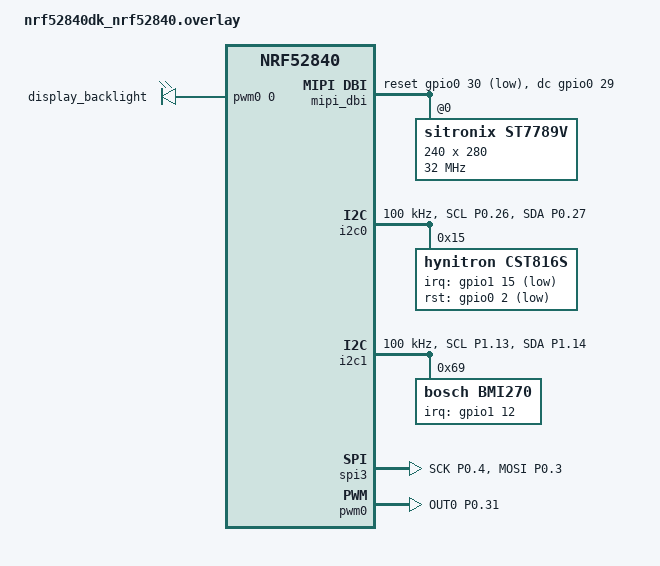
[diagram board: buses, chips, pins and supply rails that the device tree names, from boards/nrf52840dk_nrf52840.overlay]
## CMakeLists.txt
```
# SPDX-License-Identifier: Apache-2.0

cmake_minimum_required(VERSION 3.20.0)

find_package(Zephyr REQUIRED HINTS $ENV{ZEPHYR_BASE})
project(my_lvgl)


set(LVGL_DIR ${ZEPHYR_LVGL_MODULE_DIR})

target_sources(app PRIVATE src/main.c)

target_include_directories(app PRIVATE
    ${LVGL_DIR}/demos/
    ${LVGL_DIR}/examples/
)

target_sources_ifdef(CONFIG_LV_USE_DEMO_BENCHMARK app PRIVATE
    ${LVGL_DIR}/demos/benchmark/assets/img_benchmark_avatar.c
    ${LVGL_DIR}/demos/benchmark/assets/img_benchmark_lvgl_logo_argb.c
    ${LVGL_DIR}/demos/benchmark/assets/img_benchmark_lvgl_logo_rgb.c
    ${LVGL_DIR}/demos/benchmark/assets/lv_font_benchmark_montserrat_12_compr_az.c.c
    ${LVGL_DIR}/demos/benchmark/assets/lv_font_benchmark_montserrat_16_compr_az.c.c
    ${LVGL_DIR}/demos/benchmark/assets/lv_font_benchmark_montserrat_28_compr_az.c.c
    ${LVGL_DIR}/demos/benchmark/lv_demo_benchmark.c
)

target_sources_ifdef(CONFIG_LV_USE_DEMO_WIDGETS app PRIVATE
    ${LVGL_DIR}/demos/widgets/assets/img_clothes.c
    ${LVGL_DIR}/demos/widgets/assets/img_demo_widgets_avatar.c
    ${LVGL_DIR}/demos/widgets/assets/img_demo_widgets_needle.c
    ${LVGL_DIR}/demos/widgets/assets/img_lvgl_logo.c
    ${LVGL_DIR}/demos/widgets/lv_demo_widgets.c
)

target_sources_ifdef(CONFIG_LV_BUILD_EXAMPLES app PRIVATE
    ${LVGL_DIR}/examples/widgets/tileview/lv_example_tileview_1.c
    ${LVGL_DIR}/examples/widgets/arc/lv_example_arc_1.c
    ${LVGL_DIR}/examples/widgets/arc/lv_example_arc_2.c

)

# 先加入第三方 Bosch 库（提供实现与公共包含路径）
add_subdirectory(src/third_party/bosch_bmi270)

add_subdirectory(src/ui)
add_subdirectory(src/ble)
add_subdirectory(src/sensor)
add_subdirectory(src/app)


include_directories(src/)
```

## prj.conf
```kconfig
# =====================================================
# 目标：ST7789 + LVGL 显示，手机经 BLE/NUS 写入时间并显示
# 路线：Zephyr 显示子系统（推荐，不与 LVGL 内置驱动混用）
# =====================================================

# -------------------------
# 基础系统 / 内存 / 日志
# -------------------------


# 让内核能报出哪个线程、并更早发现栈问题
CONFIG_THREAD_NAME=y
CONFIG_THREAD_STACK_INFO=y
CONFIG_INIT_STACKS=y
CONFIG_STACK_SENTINEL=y
CONFIG_ASSERT=y
CONFIG_HW_STACK_PROTECTION=y      # 硬件栈保护（MPU）
CONFIG_THREAD_MONITOR=y          # 线程监控（可选）
# 系统工作队列（很多驱动会用到）
CONFIG_SYSTEM_WORKQUEUE_STACK_SIZE=2048

CONFIG_MAIN_STACK_SIZE=16384
CONFIG_HEAP_MEM_POOL_SIZE=16384

CONFIG_LOG=y
# 如需串口 Shell 调试再打开
# CONFIG_SHELL=y

# POSIX 时间：clock_settime()/clock_gettime()
CONFIG_POSIX_CLOCK=y
CONFIG_NEWLIB_LIBC=y

CONFIG_POSIX_API=y

# CST816S
CONFIG_INPUT_CST816S_INTERRUPT=y
# -------------------------
# 硬件驱动（按你的接法启用）
# -------------------------
CONFIG_GPIO=y
CONFIG_SPI=y                 # ST7789 常用 SPI
CONFIG_PWM=y                 # 若背光用 PWM；不用可注释
CONFIG_INPUT=y             # 有触摸/按键扫描再打开

# -------------------------
# 显示子系统 + LVGL（Zephyr 路径）
# -------------------------
CONFIG_DISPLAY=y
CONFIG_DISPLAY_LOG_LEVEL_ERR=y

CONFIG_LVGL=y
CONFIG_LV_USE_LOG=y
CONFIG_LV_COLOR_DEPTH_16=y
CONFIG_LV_COLOR_16_SWAP=y

# Zephyr↔LVGL 集成
CONFIG_LV_Z_MEM_POOL_SIZE=65536
CONFIG_LV_Z_POINTER_INPUT=y   # 若没有输入设备，可注释掉
CONFIG_LV_USE_PRIVATE_API=y
CONFIG_LV_Z_FLUSH_THREAD=y
# 字体（按需保留，过多会增体积）
CONFIG_LV_FONT_MONTSERRAT_14=y
CONFIG_LV_FONT_MONTSERRAT_18=y
# 开发期调试工具（量产建议关闭）
# CONFIG_LV_USE_SYSMON is not set
# CONFIG_LV_USE_PERF_MONITOR is not set

CONFIG_LV_Z_FLUSH_THREAD_STACK_SIZE=3072

CONFIG_SENSOR=y
#CONFIG_BMI270=y
# ST7789 驱动本体（部分版本会自动根据 DTS 打开，这里显式置 y 更稳）
CONFIG_ST7789V=y
# 若你的工程确实需要该宏（部分派生驱动才有），再保留：
CONFIG_ST7789V_RGB565=y

# -------------------------
# 蓝牙（NUS 对时）
# -------------------------
CONFIG_BT=y
CONFIG_BT_PERIPHERAL=y
CONFIG_BT_GATT_SERVICE_CHANGED=y

CONFIG_BT_ZEPHYR_NUS=y

# 安全与配对（建议开启；配合 SETTINGS 保存绑定）
CONFIG_BT_SMP=y
CONFIG_BT_SETTINGS=y
CONFIG_FLASH=y
CONFIG_FLASH_PAGE_LAYOUT=y
CONFIG_FLASH_MAP=y

# 设备名
CONFIG_BT_DEVICE_NAME="NUS-TimeSync"
# CONFIG_BT_DEVICE_APPEARANCE=0
# 可选链路优化（更长数据包/更高 PHY）
# CONFIG_BT_USER_PHY_UPDATE=y
# CONFIG_BT_USER_DATA_LEN_UPDATE=y

# -------------------------
# zbus（可选，用于 BLE 与 UI/时钟模块解耦）
# -------------------------
CONFIG_ZBUS=y
# 下面这些是调试/可观测性增强，会增体积，默认关闭
CONFIG_ZBUS_RUNTIME_OBSERVERS=y
CONFIG_ZBUS_CHANNEL_NAME=y
CONFIG_ZBUS_OBSERVER_NAME=y
CONFIG_ZBUS_CHANNELS_SYS_INIT_PRIORITY=1
```

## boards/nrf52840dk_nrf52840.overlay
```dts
#include <zephyr/dt-bindings/mipi_dbi/mipi_dbi.h>

/ {
    chosen {
        zephyr,display = &st7789v;
        zephyr,keyboard-scan = &cst816s;
    };
    lvgl_pointer_input: lvgl_pointer {
        compatible = "zephyr,lvgl-pointer-input";
        input = <&cst816s>;
    };
    aliases {
        input = &cst816s;
        backlight = &backlight_pwm;   /* 让代码用 DT_ALIAS(bl) 找到背光 */
    };

    pwmleds {
        compatible = "pwm-leds";
        backlight_pwm: backlight {
            /* 例：pwm0 通道 0，周期 100k ns=10kHz，正逻辑 */
            pwms = <&pwm0 0 100000 PWM_POLARITY_NORMAL>;
            label = "display_backlight";
        };
    };

    mipi_dbi {
        compatible = "zephyr,mipi-dbi-spi";
        dc-gpios = <&gpio0 29 GPIO_ACTIVE_HIGH>;   /* D/CX */
        reset-gpios = <&gpio0 30 GPIO_ACTIVE_LOW>; /* RSTX */
        spi-dev = <&spi3>;
        #address-cells = <1>;
        #size-cells = <0>;

        st7789v: st7789v@0 {
            compatible = "sitronix,st7789v";
            reg = <0>;

            mipi-max-frequency = <32000000>;
            mipi-mode = "MIPI_DBI_MODE_SPI_4WIRE";

            /* 240x280 面板，竖屏可视区上方常见偏移 20 */
            width = <240>;
            height = <280>;
            x-offset = <0>;
            y-offset = <20>;

            /* —— 以下寄存器完全按厂家初始化 ——
             * MADCTL(36h)=0x00；COLMOD(3Ah)=0x05(16bpp)
             */
            mdac = <0x00>;
            colmod = <0x05>;

            /* PORCTRL(B2h) */
            porch-param = [ 0b 0b 00 33 35  ];

            /* GCTRL(B7h)、VCOMS(BBh)、LCMCTRL(C0h) */
            gctrl = <0x11>;
            vcom = <0x35>;
            lcm = <0x2c>;

            /* VRHS(C3h)、VDVS(C4h) */
            vrhs = <0x0D>;
            vdvs = <0x20>;

            /* PWCTRL1(D0h) */
            pwctrl1-param = [ a4 a1  ];

            /* Gamma 表（E0/E1） */
            pvgam-param = [ F0 06 0B 0A 09 26 29 33 41 18 16 15 29 2D  ];
            nvgam-param = [ F0 04 08 08 07 03 28 32 40 3B 19 18 2A 2E  ];

            /* 绑定里 gamma 是必填项（GAMSET 0x26）；取常用 0x01 */
            gamma = <0x01>;

            cmd2en-param = [ 5a 69 02 01  ];
            ram-param = [ 00 f8  ];
            rgb-param = [ 00 08 14  ];

        };
    };
};

&i2c0 {
    compatible = "nordic,nrf-twim";
    status = "okay";
    clock-frequency = <I2C_BITRATE_STANDARD>;
    pinctrl-0 = <&i2c0_default>;
    pinctrl-1 = <&i2c0_sleep>;
    pinctrl-names = "default", "sleep";
    cst816s: cst816s@15 {
        compatible = "hynitron,cst816s";
        reg = <0x15>;
        irq-gpios = <&gpio1 15 GPIO_ACTIVE_LOW>;
        rst-gpios = <&gpio0 2 GPIO_ACTIVE_LOW>;
    };
};

&i2c1 {
    compatible = "nordic,nrf-twim";
    status = "okay";
    zephyr,concat-buf-size = <257>;

    clock-frequency = <I2C_BITRATE_STANDARD>;
    pinctrl-0 = <&i2c1_default>;
    pinctrl-1 = <&i2c1_sleep>;
    pinctrl-names = "default", "sleep";
    bmi270: bmi270@69 {
        compatible = "bosch,bmi270";
        reg = <0x69>;
        label = "bmi270";
        status = "okay";
        irq-gpios = <&gpio1 12 GPIO_ACTIVE_HIGH>;
    };
};


&spi3 {
    status = "okay";
    pinctrl-0 = <&spi3_default>;
    pinctrl-1 = <&spi3_sleep>;
    pinctrl-names = "default", "sleep";
    cs-gpios = <&gpio0 28 GPIO_ACTIVE_LOW>;
};

&pwm0 {
    status = "okay";
    pinctrl-0 = <&pwm0_default>;
    pinctrl-1 = <&pwm0_sleep>;
    pinctrl-names = "default", "sleep";
};

&pinctrl {
    i2c0_default: i2c0_default {
        group1 {
            psels = <NRF_PSEL(TWIM_SCL, 0, 26)>,
                    <NRF_PSEL(TWIM_SDA, 0, 27)>;
            bias-pull-up;
        };
    };
    i2c0_sleep: i2c0_sleep {
        group1 {
            psels = <NRF_PSEL(TWIM_SCL, 0, 26)>,
                    <NRF_PSEL(TWIM_SDA, 0, 27)>;
            low-power-enable;
        };
    };
    i2c1_default: i2c1_default {
        group1 {
            psels = <NRF_PSEL(TWIM_SCL, 1, 13)>,
                    <NRF_PSEL(TWIM_SDA, 1, 14)>;
            bias-pull-up;
        };
    };
    i2c1_sleep: i2c1_sleep {
        group1 {
            psels = <NRF_PSEL(TWIM_SCL, 0, 13)>,
                    <NRF_PSEL(TWIM_SDA, 0, 14)>;
            low-power-enable;
        };
    };

    spi3_default: spi3_default {
        group1 {
            psels = <NRF_PSEL(SPIM_SCK, 0, 4)>, <NRF_PSEL(SPIM_MOSI, 0, 3)>;
            nordic,drive-mode = <NRF_DRIVE_H0H1>;
        };
    };
    spi3_sleep: spi3_sleep {
        group1 {
            psels = <NRF_PSEL(SPIM_SCK, 0, 4)>, <NRF_PSEL(SPIM_MOSI, 0, 3)>;
            low-power-enable;
        };
    };

    pwm0_default: pwm0_default {
        group1 {
            psels = <NRF_PSEL(PWM_OUT0, 0, 31)>;
            nordic,drive-mode = <NRF_DRIVE_H0H1>;
        };
    };

    pwm0_sleep: pwm0_sleep {
        group1 {
            psels = <NRF_PSEL(PWM_OUT0, 0, 31)>;
            low-power-enable;
        };
    };
};


&spi0 {
    status = "disabled";
};


&spi1 {
    status = "disabled";
};


&qspi {
    status = "disabled";
};

&adc {
    status = "disabled";
};
```

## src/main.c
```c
/*
 * Copyright (c) 2012-2014 Wind River Systems, Inc.
 *
 * SPDX-License-Identifier: Apache-2.0
 */
#include <zephyr/device.h>
#include <zephyr/devicetree.h>
#include <zephyr/drivers/display.h>
#include <zephyr/drivers/gpio.h>
#include <lvgl.h>
#include <lv_demos.h>
#include <lv_examples.h>
#include <lvgl_mem.h>
#include <stdio.h>
#include <string.h>
#include <zephyr/kernel.h>
#include <hal/nrf_gpio.h>
#include <zephyr/kernel/thread.h>
#include <zephyr/logging/log.h>
#include <zephyr/posix/time.h>
#include "ble/ble_proto.h"
#include "ble/ble_comm.h"'
#include "sensor/steps_service.h"
#include "ui/ui_app.h"
#include "app/key_ebtn.h"
#include "app/backlight_ctrl.h"

LOG_MODULE_REGISTER(app, LOG_LEVEL_INF);


int main(void)
{

	ble_proto_init();        /* 挂上协议调度（把 RX 接走） */
    ble_comm_init();         /* 开蓝牙 + 广播 + 连接回调 */
	steps_service_start();
	blctl_init();
    key_ebtn_thread_init();   /* 线程版按键处理（无中断） */
	ui_app_init();
	    

	while(1)
	{
		// lv_chart_set_next(ui_Chart1, series1, 100);
		k_sleep(K_MSEC(1000));
	}

	return 0;
}
```
